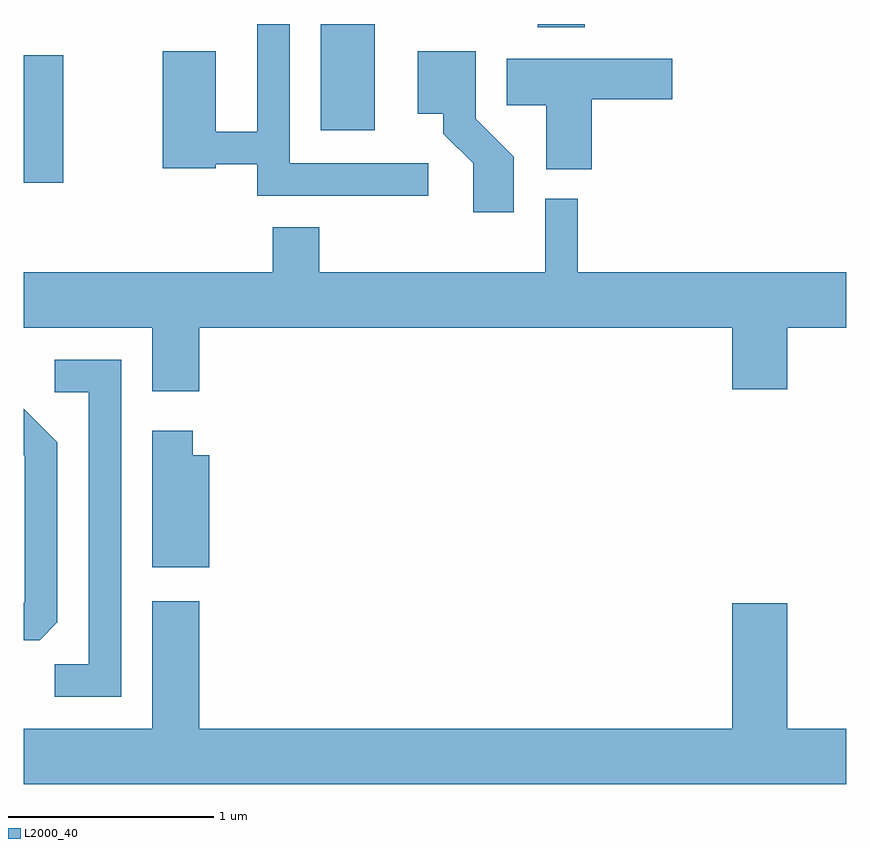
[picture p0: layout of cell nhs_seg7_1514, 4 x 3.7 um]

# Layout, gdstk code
import gdstk
lib = gdstk.Library(unit=1e-6, precision=1e-09)
def R(c, l, rs):  # rectangles x0, y0, x1, y1
    for r in rs: c.add(gdstk.rectangle(r[:2], r[2:], *l))
def P(c, l, *ps):  # polygons
    for p in ps: c.add(gdstk.Polygon(p, *l))
L2000_40 = (2000, 40)

nhs_seg7_1514 = lib.new_cell('nhs_seg7_1514')
R(nhs_seg7_1514, L2000_40, [(231.611,1699.481,231.804,1700.099), (233.056,1699.736,233.319,1700.252), (234.111,1700.236,234.339,1700.252)])
P(nhs_seg7_1514, L2000_40, [(233.578,1699.574),(232.904,1699.574),(232.904,1700.252),(232.746,1700.252),(232.746,1699.729),(232.544,1699.729),(232.544,1700.119),(232.286,1700.119),(232.286,1699.551),(232.544,1699.551),(232.544,1699.571),(232.746,1699.571),(232.746,1699.416),(233.578,1699.416)],
  [(233.994,1699.607),(233.809,1699.792),(233.809,1700.119),(233.526,1700.119),(233.526,1699.816),(233.651,1699.816),(233.651,1699.719),(233.796,1699.574),(233.796,1699.336),(233.994,1699.336)],
  [(234.374,1699.886),(234.764,1699.886),(234.764,1700.084),(233.961,1700.084),(233.961,1699.856),(234.151,1699.856),(234.151,1699.546),(234.374,1699.546)],
  [(231.611,1698.776),(232.236,1698.776),(232.236,1698.466),(232.464,1698.466),(232.464,1698.776),(235.056,1698.776),(235.056,1698.476),(235.324,1698.476),(235.324,1698.776),(235.611,1698.776),(235.611,1699.044),(234.304,1699.044),(234.304,1699.403),(234.146,1699.403),(234.146,1699.044),(233.049,1699.044),(233.049,1699.264),(232.821,1699.264),(232.821,1699.044),(231.611,1699.044)],
  [(232.084,1698.619),(231.763,1698.619),(231.763,1698.461),(231.926,1698.461),(231.926,1697.139),(231.763,1697.139),(231.763,1696.981),(232.084,1696.981)],
  [(231.774,1697.342),(231.774,1698.217),(231.611,1698.38),(231.611,1698.154),(231.616,1698.149),(231.616,1697.442),(231.611,1697.437),(231.611,1697.256),(231.689,1697.256)],
  [(232.514,1698.154),(232.434,1698.154),(232.434,1698.274),(232.236,1698.274),(232.236,1697.611),(232.514,1697.611)],
  [(235.611,1696.824),(235.324,1696.824),(235.324,1697.434),(235.056,1697.434),(235.056,1696.824),(232.464,1696.824),(232.464,1697.444),(232.236,1697.444),(232.236,1696.824),(231.611,1696.824),(231.611,1696.556),(235.611,1696.556)])

lib.write_gds('nhs_seg7_1514.gds')
